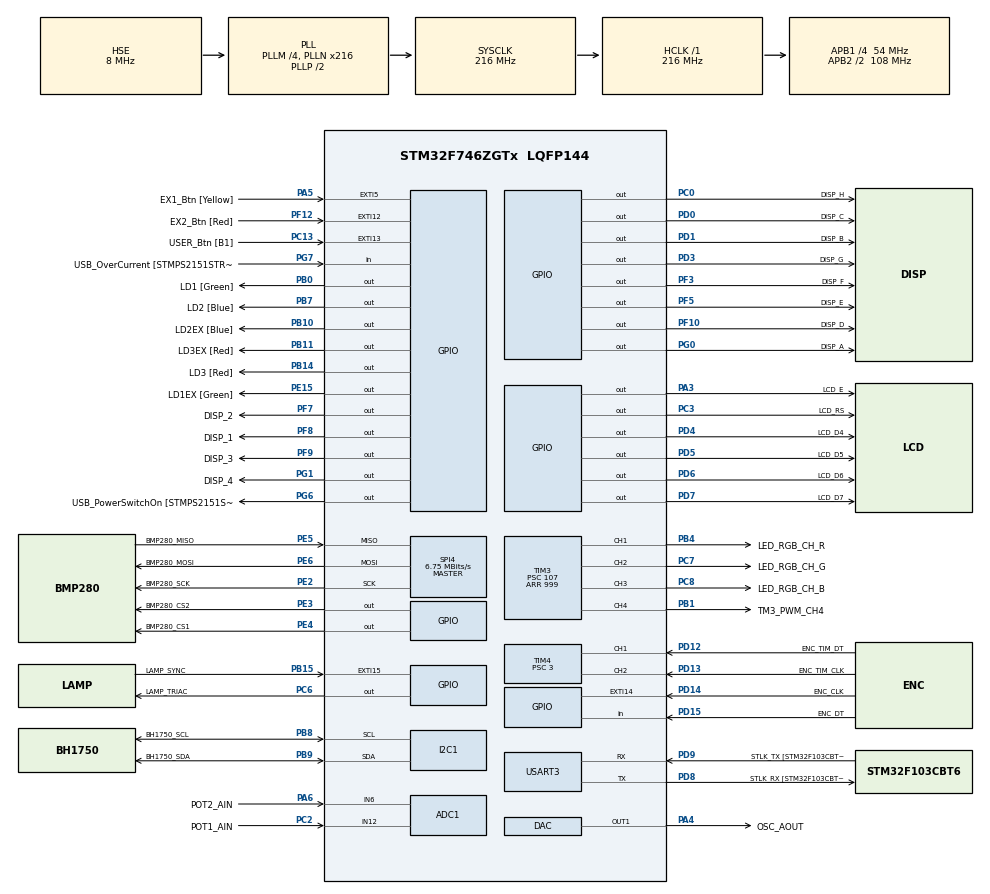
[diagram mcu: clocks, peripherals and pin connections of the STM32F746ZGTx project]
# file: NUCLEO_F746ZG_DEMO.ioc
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ADC1.Channel-0\#ChannelRegularConversion=ADC_CHANNEL_12
ADC1.Channel-1\#ChannelRegularConversion=ADC_CHANNEL_6
ADC1.ClockPrescaler=ADC_CLOCK_SYNC_PCLK_DIV8
ADC1.ContinuousConvMode=DISABLE
ADC1.DMAContinuousRequests=ENABLE
ADC1.EOCSelection=ADC_EOC_SEQ_CONV
ADC1.InjNumberOfConversion=0
ADC1.NbrOfConversion=2
ADC1.NbrOfConversionFlag=1
ADC1.Rank-0\#ChannelRegularConversion=1
ADC1.Rank-1\#ChannelRegularConversion=2
ADC1.SamplingTime-0\#ChannelRegularConversion=ADC_SAMPLETIME_480CYCLES
ADC1.SamplingTime-1\#ChannelRegularConversion=ADC_SAMPLETIME_480CYCLES
ADC1.master=1
DAC.DAC_Trigger=DAC_TRIGGER_T6_TRGO
Dma.ADC1.0.Direction=DMA_PERIPH_TO_MEMORY
Dma.ADC1.0.FIFOMode=DMA_FIFOMODE_DISABLE
Dma.ADC1.0.Instance=DMA2_Stream0
Dma.ADC1.0.MemDataAlignment=DMA_MDATAALIGN_HALFWORD
Dma.ADC1.0.MemInc=DMA_MINC_ENABLE
Dma.ADC1.0.Mode=DMA_CIRCULAR
Dma.ADC1.0.PeriphDataAlignment=DMA_PDATAALIGN_HALFWORD
Dma.ADC1.0.PeriphInc=DMA_PINC_DISABLE
Dma.ADC1.0.Priority=DMA_PRIORITY_LOW
Dma.DAC1.1.Direction=DMA_MEMORY_TO_PERIPH
Dma.DAC1.1.FIFOMode=DMA_FIFOMODE_DISABLE
Dma.DAC1.1.Instance=DMA1_Stream5
Dma.DAC1.1.MemDataAlignment=DMA_MDATAALIGN_HALFWORD
Dma.DAC1.1.MemInc=DMA_MINC_ENABLE
Dma.DAC1.1.Mode=DMA_CIRCULAR
Dma.DAC1.1.PeriphDataAlignment=DMA_PDATAALIGN_HALFWORD
Dma.DAC1.1.PeriphInc=DMA_PINC_DISABLE
Dma.DAC1.1.Priority=DMA_PRIORITY_HIGH
Dma.Request0=ADC1
Dma.Request1=DAC1
I2C1.Timing=0x20404768
Mcu.Family=STM32F7
Mcu.Name=STM32F746ZGTx
Mcu.Package=LQFP144
NVIC.DMA1_Stream5_IRQn=true\:0\:0\:false\:false\:true\:false\:true
NVIC.DMA2_Stream0_IRQn=true\:0\:0\:false\:false\:true\:false\:true
NVIC.EXTI15_10_IRQn=true\:0\:0\:false\:false\:true\:true\:true
NVIC.EXTI9_5_IRQn=true\:0\:0\:false\:false\:true\:true\:true
NVIC.PriorityGroup=NVIC_PRIORITYGROUP_4
NVIC.TIM2_IRQn=true\:0\:0\:false\:false\:true\:true\:true
NVIC.TIM6_DAC_IRQn=true\:0\:0\:false\:false\:true\:true\:true
NVIC.TIM7_IRQn=true\:0\:0\:false\:false\:true\:true\:true
NVIC.USART3_IRQn=true\:0\:0\:false\:false\:true\:true\:true
PA1.GPIO_Label=RMII_REF_CLK [LAN8742A-CZ-TR_REFCLK0]
PA1.Signal=ETH_REF_CLK
PA10.GPIO_Label=USB_ID
PA10.Signal=USB_OTG_FS_ID
PA11.GPIO_Label=USB_DM
PA11.Signal=USB_OTG_FS_DM
PA12.GPIO_Label=USB_DP
PA12.Signal=USB_OTG_FS_DP
PA13.GPIO_Label=TMS
PA13.Mode=Serial_Wire
PA13.Signal=SYS_JTMS-SWDIO
PA14.GPIO_Label=TCK
PA14.Mode=Serial_Wire
PA14.Signal=SYS_JTCK-SWCLK
PA2.GPIO_Label=RMII_MDIO [LAN8742A-CZ-TR_MDIO]
PA2.Signal=ETH_MDIO
PA3.GPIO_Label=LCD_E
PA3.Signal=GPIO_Output
PA4.GPIO_Label=OSC_AOUT
PA4.Signal=COMP_DAC1_group
PA5.GPIO_Label=EX1_Btn [Yellow]
PA5.GPIO_ModeDefaultEXTI=GPIO_MODE_IT_FALLING
PA5.Signal=GPXTI5
PA6.GPIO_Label=POT2_AIN
PA6.Signal=ADCx_IN6
PA8.GPIO_Label=USB_SOF [TP1]
PA8.Signal=USB_OTG_FS_SOF
PA9.GPIO_Label=USB_VBUS
PA9.Signal=USB_OTG_FS_VBUS
PB0.GPIO_Label=LD1 [Green]
PB0.Signal=GPIO_Output
PB1.GPIO_Label=TM3_PWM_CH4
PB1.Signal=S_TIM3_CH4
PB10.GPIO_Label=LD2EX [Blue]
PB10.Signal=GPIO_Output
PB11.GPIO_Label=LD3EX [Red]
PB11.Signal=GPIO_Output
PB13.GPIO_Label=RMII_TXD1 [LAN8742A-CZ-TR_TXD1]
PB13.Signal=ETH_TXD1
PB14.GPIO_Label=LD3 [Red]
PB14.Signal=GPIO_Output
PB15.GPIO_Label=LAMP_SYNC
PB15.Signal=GPXTI15
PB3.GPIO_Label=SW0
PB3.Signal=SYS_JTDO-SWO
PB4.GPIO_Label=LED_RGB_CH_R
PB4.Signal=S_TIM3_CH1
PB7.GPIO_Label=LD2 [Blue]
PB7.Signal=GPIO_Output
PB8.GPIO_Label=BH1750_SCL
PB8.Mode=I2C
PB8.Signal=I2C1_SCL
PB9.GPIO_Label=BH1750_SDA
PB9.Mode=I2C
PB9.Signal=I2C1_SDA
PC0.GPIO_Label=DISP_H
PC0.GPIO_ModeDefaultOutputPP=GPIO_MODE_OUTPUT_OD
PC0.GPIO_PuPd=GPIO_PULLUP
PC0.Signal=GPIO_Output
PC1.GPIO_Label=RMII_MDC [LAN8742A-CZ-TR_MDC]
PC1.Signal=ETH_MDC
PC13.GPIO_Label=USER_Btn [B1]
PC13.Signal=GPXTI13
PC14/OSC32_IN.Mode=LSE-External-Oscillator
PC14/OSC32_IN.Signal=RCC_OSC32_IN
PC15/OSC32_OUT.Mode=LSE-External-Oscillator
PC15/OSC32_OUT.Signal=RCC_OSC32_OUT
PC2.GPIO_Label=POT1_AIN
PC2.Signal=ADCx_IN12
PC3.GPIO_Label=LCD_RS
PC3.Signal=GPIO_Output
PC4.GPIO_Label=RMII_RXD0 [LAN8742A-CZ-TR_RXD0]
PC4.Signal=ETH_RXD0
PC5.GPIO_Label=RMII_RXD1 [LAN8742A-CZ-TR_RXD1]
PC5.Signal=ETH_RXD1
PC6.GPIO_Label=LAMP_TRIAC
PC6.GPIO_Speed=GPIO_SPEED_FREQ_HIGH
PC6.Signal=GPIO_Output
PC7.GPIO_Label=LED_RGB_CH_G
PC7.Signal=S_TIM3_CH2
PC8.GPIO_Label=LED_RGB_CH_B
PC8.Signal=S_TIM3_CH3
PD0.GPIO_Label=DISP_C
PD0.GPIO_ModeDefaultOutputPP=GPIO_MODE_OUTPUT_OD
PD0.GPIO_PuPd=GPIO_PULLUP
PD0.Signal=GPIO_Output
PD1.GPIO_Label=DISP_B
PD1.GPIO_ModeDefaultOutputPP=GPIO_MODE_OUTPUT_OD
PD1.GPIO_PuPd=GPIO_PULLUP
PD1.Signal=GPIO_Output
PD12.GPIO_Label=ENC_TIM_DT
PD12.Signal=S_TIM4_CH1
PD13.GPIO_Label=ENC_TIM_CLK
PD13.Signal=S_TIM4_CH2
PD14.GPIO_Label=ENC_CLK
PD14.GPIO_ModeDefaultEXTI=GPIO_MODE_IT_FALLING
PD14.Signal=GPXTI14
PD15.GPIO_Label=ENC_DT
PD15.Signal=GPIO_Input
PD3.GPIO_Label=DISP_G
PD3.GPIO_ModeDefaultOutputPP=GPIO_MODE_OUTPUT_OD
PD3.GPIO_PuPd=GPIO_PULLUP
PD3.Signal=GPIO_Output
PD4.GPIO_Label=LCD_D4
PD4.Signal=GPIO_Output
PD5.GPIO_Label=LCD_D5
PD5.Signal=GPIO_Output
PD6.GPIO_Label=LCD_D6
PD6.Signal=GPIO_Output
PD7.GPIO_Label=LCD_D7
PD7.Signal=GPIO_Output
PD8.GPIO_Label=STLK_RX [STM32F103CBT6_PA3]
PD8.Mode=Asynchronous
PD8.Signal=USART3_TX
PD9.GPIO_Label=STLK_TX [STM32F103CBT6_PA2]
PD9.Mode=Asynchronous
PD9.Signal=USART3_RX
PE15.GPIO_Label=LD1EX [Green]
PE15.Signal=GPIO_Output
PE2.GPIO_Label=BMP280_SCK
PE2.Mode=Full_Duplex_Master
PE2.Signal=SPI4_SCK
PE3.GPIO_Label=BMP280_CS2
PE3.GPIO_Speed=GPIO_SPEED_FREQ_VERY_HIGH
PE3.PinState=GPIO_PIN_SET
PE3.Signal=GPIO_Output
PE4.GPIO_Label=BMP280_CS1
PE4.GPIO_Speed=GPIO_SPEED_FREQ_VERY_HIGH
PE4.PinState=GPIO_PIN_SET
PE4.Signal=GPIO_Output
PE5.GPIO_Label=BMP280_MISO
PE5.Mode=Full_Duplex_Master
PE5.Signal=SPI4_MISO
PE6.GPIO_Label=BMP280_MOSI
PE6.Mode=Full_Duplex_Master
PE6.Signal=SPI4_MOSI
PF10.GPIO_Label=DISP_D
PF10.GPIO_ModeDefaultOutputPP=GPIO_MODE_OUTPUT_OD
PF10.GPIO_PuPd=GPIO_PULLUP
PF10.Signal=GPIO_Output
PF12.GPIO_Label=EX2_Btn [Red]
PF12.Signal=GPXTI12
PF3.GPIO_Label=DISP_F
PF3.GPIO_ModeDefaultOutputPP=GPIO_MODE_OUTPUT_OD
PF3.GPIO_PuPd=GPIO_PULLUP
PF3.Signal=GPIO_Output
PF5.GPIO_Label=DISP_E
PF5.GPIO_ModeDefaultOutputPP=GPIO_MODE_OUTPUT_OD
PF5.GPIO_PuPd=GPIO_PULLUP
PF5.Signal=GPIO_Output
PF7.GPIO_Label=DISP_2
PF7.Signal=GPIO_Output
PF8.GPIO_Label=DISP_1
PF8.Signal=GPIO_Output
PF9.GPIO_Label=DISP_3
PF9.Signal=GPIO_Output
PG0.GPIO_Label=DISP_A
PG0.GPIO_ModeDefaultOutputPP=GPIO_MODE_OUTPUT_OD
PG0.GPIO_PuPd=GPIO_PULLUP
PG0.Signal=GPIO_Output
PG1.GPIO_Label=DISP_4
PG1.Signal=GPIO_Output
PG11.GPIO_Label=RMII_TX_EN [LAN8742A-CZ-TR_TXEN]
PG11.Signal=ETH_TX_EN
PG13.GPIO_Label=RMII_TXD0 [LAN8742A-CZ-TR_TXD0]
PG13.Signal=ETH_TXD0
PG6.GPIO_Label=USB_PowerSwitchOn [STMPS2151STR_EN]
PG6.Signal=GPIO_Output
PG7.GPIO_Label=USB_OverCurrent [STMPS2151STR_FAULT]
PG7.Signal=GPIO_Input
PH0/OSC_IN.GPIO_Label=MCO [STM32F103CBT6_PA8]
PH0/OSC_IN.Mode=HSE-External-Clock-Source
PH0/OSC_IN.Signal=RCC_OSC_IN
PH1/OSC_OUT.Mode=HSE-External-Clock-Source
PH1/OSC_OUT.Signal=RCC_OSC_OUT
ProjectManager.HeapSize=0x200
ProjectManager.StackSize=0x400
ProjectManager.TargetToolchain=STM32CubeIDE
RCC.48MHZClocksFreq_Value=24000000
RCC.AHBFreq_Value=216000000
RCC.APB1CLKDivider=RCC_HCLK_DIV4
RCC.APB1Freq_Value=54000000
RCC.APB1TimFreq_Value=108000000
RCC.APB2CLKDivider=RCC_HCLK_DIV2
RCC.APB2Freq_Value=108000000
RCC.APB2TimFreq_Value=216000000
RCC.CortexFreq_Value=216000000
RCC.HCLKFreq_Value=216000000
RCC.HSE_VALUE=8000000
RCC.HSI_VALUE=16000000
RCC.PLLM=4
RCC.PLLMUL=RCC_PLL_MUL9
RCC.PLLN=216
RCC.PLLQ=3
RCC.PLLSourceVirtual=RCC_PLLSOURCE_HSE
RCC.PRESCALERUSB=RCC_USBCLKSOURCE_PLL_DIV1_5
RCC.SYSCLKFreq_VALUE=216000000
RCC.SYSCLKSource=RCC_SYSCLKSOURCE_PLLCLK
RCC.SYSCLKSourceVirtual=RCC_SYSCLKSOURCE_PLLCLK
RCC.USBFreq_Value=144000000
RCC.VCOOutputFreq_Value=432000000
SH.ADCx_IN12.0=ADC1_IN12,IN12
SH.ADCx_IN6.0=ADC1_IN6,IN6
SH.COMP_DAC1_group.0=DAC_OUT1,DAC_OUT1
SH.S_TIM3_CH1.0=TIM3_CH1,PWM Generation1 CH1
SH.S_TIM3_CH2.0=TIM3_CH2,PWM Generation2 CH2
SH.S_TIM3_CH3.0=TIM3_CH3,PWM Generation3 CH3
SH.S_TIM3_CH4.0=TIM3_CH4,PWM Generation4 CH4
SH.S_TIM4_CH1.0=TIM4_CH1,Encoder_Interface
SH.S_TIM4_CH2.0=TIM4_CH2,Encoder_Interface
SPI4.BaudRatePrescaler=SPI_BAUDRATEPRESCALER_16
SPI4.CLKPhase=SPI_PHASE_2EDGE
SPI4.CLKPolarity=SPI_POLARITY_HIGH
SPI4.CalculateBaudRate=6.75 MBits/s
SPI4.DataSize=SPI_DATASIZE_8BIT
SPI4.Direction=SPI_DIRECTION_2LINES
SPI4.Mode=SPI_MODE_MASTER
SPI4.VirtualType=VM_MASTER
TIM2.Period=4999
TIM2.Prescaler=107
TIM3.Channel-PWM\ Generation1\ CH1=TIM_CHANNEL_1
TIM3.Channel-PWM\ Generation2\ CH2=TIM_CHANNEL_2
TIM3.Channel-PWM\ Generation3\ CH3=TIM_CHANNEL_3
TIM3.Channel-PWM\ Generation4\ CH4=TIM_CHANNEL_4
TIM3.Period=999
TIM3.Prescaler=107
TIM3.Pulse-PWM\ Generation2\ CH2=0
TIM3.Pulse-PWM\ Generation3\ CH3=0
TIM4.EncoderMode=TIM_ENCODERMODE_TI12
TIM4.IC1Polarity=TIM_ICPOLARITY_FALLING
TIM4.IC2Polarity=TIM_ICPOLARITY_FALLING
TIM4.Period=100
TIM4.Prescaler=3
TIM5.CounterMode=TIM_COUNTERMODE_UP
TIM5.Prescaler=107
TIM6.Period=999
TIM6.Prescaler=107
TIM6.TIM_MasterOutputTrigger=TIM_TRGO_UPDATE
TIM7.Period=999
TIM7.Prescaler=107
USART3.VirtualMode-Asynchronous=VM_ASYNC
VP_TIM2_VS_ClockSourceINT.Mode=Internal
VP_TIM2_VS_OPM.Mode=OPM_bit
VP_TIM3_VS_ClockSourceINT.Mode=Internal
VP_TIM5_VS_ClockSourceINT.Mode=Internal
VP_TIM6_VS_ClockSourceINT.Mode=Enable_Timer
VP_TIM7_VS_ClockSourceINT.Mode=Enable_Timer
board=NUCLEO-F746ZG

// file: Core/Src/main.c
/* USER CODE BEGIN Header */
/**
  ******************************************************************************
  * @file           : main.c
  * @brief          : Main program body
  ******************************************************************************
  * @attention
  *
  * <h2><center>&copy; Copyright (c) 2020 STMicroelectronics.
  * All rights reserved.</center></h2>
  *
  * This software component is licensed by ST under BSD 3-Clause license,
  * the "License"; You may not use this file except in compliance with the
  * License. You may obtain a copy of the License at:
  *                        opensource.org/licenses/BSD-3-Clause
  *
  ******************************************************************************
  */
/* USER CODE END Header */
#include "main.h"
#include "adc.h"
#include "dac.h"
#include "dma.h"
#include "i2c.h"
#include "spi.h"
#include "tim.h"
#include "usart.h"
#include "gpio.h"

/* USER CODE BEGIN Includes */
#include "components.h"
#include <stdio.h>
#include <string.h>

/* USER CODE END Includes */

/* USER CODE BEGIN PV */

// ADC conversion results
uint16_t adc_measurement[ADC_CHANNEL_NUMBER] = {0, 0};   // ADC register value
uint32_t adc_voltage_mV[ADC_CHANNEL_NUMBER] = {0, 0};

// DAC data
uint16_t sine_wave[] = {
  #include "sine_data.csv"
};

/* USER CODE END PV */

void SystemClock_Config(void);

/* USER CODE BEGIN 0 */

/**
  * @brief  EXTI line detection callbacks.
  * @param  GPIO_Pin Specifies the pins connected EXTI line
  * @retval None
  */
void HAL_GPIO_EXTI_Callback(uint16_t GPIO_Pin)
{
  /* Push buttons handling */
  if(GPIO_Pin == hbtn1.Pin)
	 menu_item = menu_item->next;
  else if(GPIO_Pin == hbtn2.Pin)
	 menu_item = menu_item->prev;

  /* Dimmer (LAMP) handling */
  else if(GPIO_Pin == hlamp1.SYNC_Pin)
	LAMP_StartTimer(&hlamp1);
}

/**
  * @brief  Period elapsed callback in non-blocking mode
  * @param  htim TIM handle
  * @retval None
  */
void HAL_TIM_PeriodElapsedCallback(TIM_HandleTypeDef *htim)
{
  /* Dimmer (LAMP) handling */
  if(htim->Instance == hlamp1.Timer->Instance)
    LAMP_TriacFiring(&hlamp1);
  else if(htim->Instance == hdisp1.Timer->Instance)
	DISP_ROUTINE(&hdisp1);
}

/**
  * @brief  Regular conversion complete callback in non blocking mode
  * @param  hadc pointer to a ADC_HandleTypeDef structure that contains
  *         the configuration information for the specified ADC.
  * @retval None
  */
void HAL_ADC_ConvCpltCallback(ADC_HandleTypeDef* hadc)
{
  if(hadc->Instance == ADC1)
  {
    adc_voltage_mV[ADC_POT1] = ADC_REG2VOLTAGE(adc_measurement[ADC_POT1]);
    adc_voltage_mV[ADC_POT2] = ADC_REG2VOLTAGE(adc_measurement[ADC_POT2]);
  }
}

/* USER CODE END 0 */

int main(void)
{

  /* MCU Configuration--------------------------------------------------------*/

  /* Reset of all peripherals, Initializes the Flash interface and the Systick. */
  HAL_Init();

  /* Configure the system clock */
  SystemClock_Config();

  /* Initialize all configured peripherals */
  MX_GPIO_Init();
  MX_DMA_Init();
  MX_USART3_UART_Init();
  MX_TIM2_Init();
  MX_TIM3_Init();
  MX_TIM4_Init();
  MX_I2C1_Init();
  MX_SPI4_Init();
  MX_ADC1_Init();
  MX_DAC_Init();
  MX_TIM6_Init();
  MX_TIM7_Init();
  MX_TIM5_Init();
  /* USER CODE BEGIN 2 */

  /** Analog output initialization: sine wave generation *********************************/
  HAL_TIM_Base_Start(&htim6);
  HAL_DAC_Start_DMA(&hdac, DAC_CHANNEL_1, (uint32_t*)sine_wave, 100, DAC_ALIGN_12B_R) ;

  /** LCD with user menu initialization **************************************************/
  LCD_Init(&hlcd1);
  menu_item = &menu_ledr1; //< start from LED Red #1

  /** PWM-controller LED ARGB initialization *********************************************/
  LED_RGB_Init(&hledrgb1);

  /** PWM-controller heater initialization ***********************************************/
  HEATER_PWM_Init(&hheaterpwm1);

  /** Rotary quadrature encoder initialization *******************************************/
  ENC_Init(&henc1);

  /** Digital light sensors initialization: BH1750 with I2C bus **************************/
  BH1750_Init(&hbh1750_1);
  BH1750_Init(&hbh1750_2);

  /** Digital temperature and pressure sensors initialization: BMP280 with SPI bus *******/
  BMP280_Init(&bmp280_1);
  BMP280_Init(&bmp280_2);

  /** Seven-segment display initialization - analog input readout ************************/
  DISP_Init(&hdisp1);

  /* USER CODE END 2 */

  /* Infinite loop */
  /* USER CODE BEGIN WHILE */
  while (1)
  {
	/** Input reading **********************************************************************/

	// Read analog inputs
	HAL_ADC_Start_DMA(&hadc1, (uint32_t*)adc_measurement, ADC_CHANNEL_NUMBER);

	// Read rotary encoder counter
	ENC_GetCounter(&henc1);

	/** LCD menu ***************************************************************************/
	MENU_ClearDisplayBuffer(menu_item);
	MENU_CallFunction(menu_item);

	LCD_SetCursor(&hlcd1, 0, 0);
	LCD_printStr(&hlcd1, menu_item->display_str);
	LCD_SetCursor(&hlcd1, 1, 0);
	LCD_printf(&hlcd1, "ENC: %03d", henc1.Counter);

	/** Seven-segment display **************************************************************/
	DISP_printDecUInt(&hdisp1, (int)adc_voltage_mV[ADC_POT2]);

	// Loop delay
	HAL_Delay(100);

    /* USER CODE END WHILE */

  }
}

void SystemClock_Config(void)
{
  RCC_OscInitTypeDef RCC_OscInitStruct = {0};
  RCC_ClkInitTypeDef RCC_ClkInitStruct = {0};
  RCC_PeriphCLKInitTypeDef PeriphClkInitStruct = {0};

  /** Configure LSE Drive Capability
  */
  HAL_PWR_EnableBkUpAccess();
  /** Configure the main internal regulator output voltage
  */
  __HAL_RCC_PWR_CLK_ENABLE();
  __HAL_PWR_VOLTAGESCALING_CONFIG(PWR_REGULATOR_VOLTAGE_SCALE1);
  /** Initializes the RCC Oscillators according to the specified parameters
  * in the RCC_OscInitTypeDef structure.
  */
  RCC_OscInitStruct.OscillatorType = RCC_OSCILLATORTYPE_HSE;
  RCC_OscInitStruct.HSEState = RCC_HSE_BYPASS;
  RCC_OscInitStruct.PLL.PLLState = RCC_PLL_ON;
  RCC_OscInitStruct.PLL.PLLSource = RCC_PLLSOURCE_HSE;
  RCC_OscInitStruct.PLL.PLLM = 4;
  RCC_OscInitStruct.PLL.PLLN = 216;
  RCC_OscInitStruct.PLL.PLLP = RCC_PLLP_DIV2;
  RCC_OscInitStruct.PLL.PLLQ = 3;
  if (HAL_RCC_OscConfig(&RCC_OscInitStruct) != HAL_OK)
  {
    Error_Handler();
  }
  /** Activate the Over-Drive mode
  */
  if (HAL_PWREx_EnableOverDrive() != HAL_OK)
  {
    Error_Handler();
  }
  /** Initializes the CPU, AHB and APB buses clocks
  */
  RCC_ClkInitStruct.ClockType = RCC_CLOCKTYPE_HCLK|RCC_CLOCKTYPE_SYSCLK
                              |RCC_CLOCKTYPE_PCLK1|RCC_CLOCKTYPE_PCLK2;
  RCC_ClkInitStruct.SYSCLKSource = RCC_SYSCLKSOURCE_PLLCLK;
  RCC_ClkInitStruct.AHBCLKDivider = RCC_SYSCLK_DIV1;
  RCC_ClkInitStruct.APB1CLKDivider = RCC_HCLK_DIV4;
  RCC_ClkInitStruct.APB2CLKDivider = RCC_HCLK_DIV2;

  if (HAL_RCC_ClockConfig(&RCC_ClkInitStruct, FLASH_LATENCY_7) != HAL_OK)
  {
    Error_Handler();
  }
  PeriphClkInitStruct.PeriphClockSelection = RCC_PERIPHCLK_USART3|RCC_PERIPHCLK_I2C1;
  PeriphClkInitStruct.Usart3ClockSelection = RCC_USART3CLKSOURCE_PCLK1;
  PeriphClkInitStruct.I2c1ClockSelection = RCC_I2C1CLKSOURCE_PCLK1;
  if (HAL_RCCEx_PeriphCLKConfig(&PeriphClkInitStruct) != HAL_OK)
  {
    Error_Handler();
  }
}

void Error_Handler(void)
{
}

/************************ (C) COPYRIGHT STMicroelectronics *****END OF FILE****/
